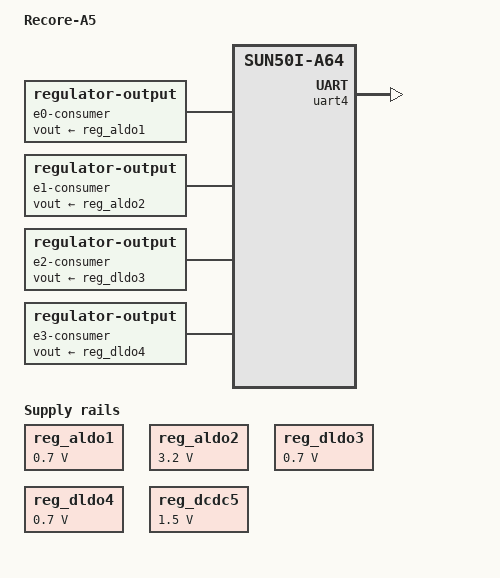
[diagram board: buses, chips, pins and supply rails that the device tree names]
// SPDX-License-Identifier: (GPL-2.0+ OR MIT)

/dts-v1/;

#include "sun50i-a64-recore.dtsi"

/ {
	model = "Recore-A5";
	compatible = "iagent,recore-a5", "allwinner,sun50i-a64";

	e0-consumer {
		compatible = "regulator-output";
		vout-supply = <&reg_aldo1>;
	};

	e1-consumer {
		compatible = "regulator-output";
		vout-supply = <&reg_aldo2>;
	};

	e2-consumer {
		compatible = "regulator-output";
		vout-supply = <&reg_dldo3>;
	};

	e3-consumer {
		compatible = "regulator-output";
		vout-supply = <&reg_dldo4>;
	};
};

&reg_aldo1 {
	regulator-min-microvolt = <700000>;
	regulator-max-microvolt = <700000>;
	regulator-name = "vcc-vref-e0";
};

&reg_aldo2 {
	regulator-min-microvolt = <3200000>;
	regulator-max-microvolt = <3200000>;
	regulator-name = "vcc-vref-e1";
};

&reg_dldo3 {
	regulator-min-microvolt = <700000>;
	regulator-max-microvolt = <700000>;
	regulator-name = "vcc-vref-e2";
};

&reg_dldo4 {
	regulator-min-microvolt = <700000>;
	regulator-max-microvolt = <700000>;
	regulator-name = "vcc-vref-e3";
};

&reg_dcdc5 {
	regulator-min-microvolt = <1500000>;
	regulator-max-microvolt = <1500000>;
};

/* STM32 */
&uart4 {
	pinctrl-names = "default";
	pinctrl-0 = <&uart4_pins>;
	status = "okay";
};

&mali {
	/delete-property/ operating-points-v2;
	assigned-clocks = <&ccu CLK_GPU>;
	assigned-clock-rates = <180000000>;
};

&mbus {
	status = "disabled";
};
